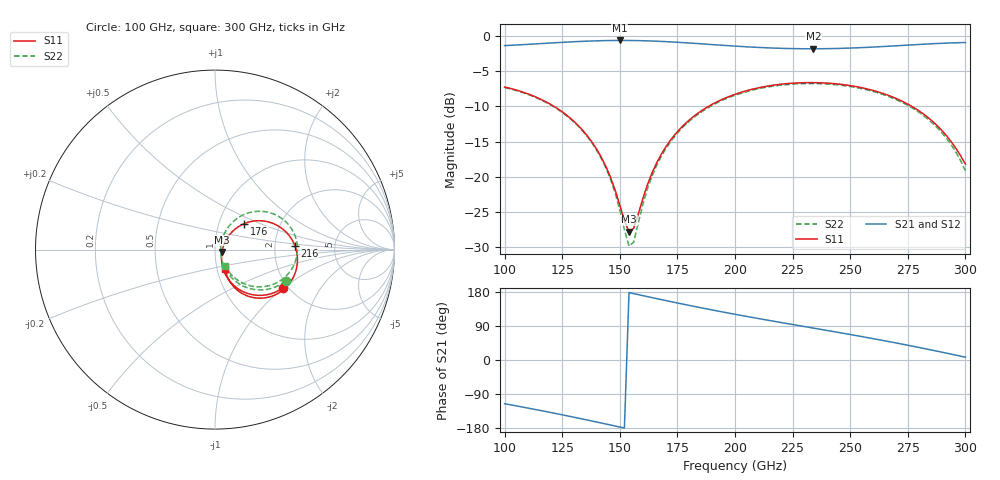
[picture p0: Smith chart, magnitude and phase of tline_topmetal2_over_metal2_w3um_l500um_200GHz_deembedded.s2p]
! Created with skrf 2.0.1 (http://scikit-rf.org).
# GHz S DB R 50.0
!freq dBS11 angS11 dBS21 angS21 dBS12 angS12 dBS22 angS22
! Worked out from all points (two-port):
!   101 points, 100 GHz to 300 GHz, reference 50 ohm
!   highest |S21| = -0.65 dB at 150 GHz (marker M1); lowest = -1.8 dB at 234 GHz (marker M2)
!   |S21| within 3 dB of the highest: start of sweep to end of sweep
!   lowest |S11| = -27.8 dB at 154 GHz (marker M3), VSWR 1.09, Z = 54 - j1.4 ohm
!   |S11| at or under -10 dB: 121.4 GHz to 188.5 GHz (67.05 GHz wide, 43.3 % of centre); 276.7 GHz to end of sweep
!   |S22| runs from -29.8 to -6.8 dB; largest |S21 - S12| = 1.5e-13
!   S11 on the Smith chart (normalised r, x): 100 GHz: 1.87, -0.99; 176 GHz: 1.32, +0.40; 216 GHz: 2.60, +0.15; 300 GHz: 1.09, -0.24
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100  -7.26 -29.7  -1.38 -115.5  -1.38 -115.5  -7.33 -23.9
120  -9.72 -50.3  -1.02 -138.5  -1.02 -138.5  -9.80 -43.8
134  -13.43 -63.4  -0.78 -156.0  -0.78 -156.0  -13.53 -57.0
140  -16.09 -67.0  -0.71 -163.7  -0.71 -163.7  -16.22 -61.1
144  -18.54 -67.1  -0.68 -169.0  -0.68 -169.0  -18.75 -61.9
148  -21.89 -62.0  -0.66 -174.3  -0.66 -174.3  -22.30 -58.4
150  -24.00 -54.9  -0.65 -176.9  -0.65 -176.9  -24.68 -52.4
154  -27.77 -18.4  -0.66 177.8  -0.66 177.8  -29.81 -12.8
156  -27.29 8.1  -0.67 175.2  -0.67 175.2  -29.25 21.3
162  -21.11 42.4  -0.71 167.2  -0.71 167.2  -21.66 57.5
168  -16.79 46.0  -0.79 159.4  -0.79 159.4  -17.07 59.7
176  -13.23 41.6  -0.93 149.2  -0.93 149.2  -13.42 54.7
186  -10.50 32.6  -1.15 136.9  -1.15 136.9  -10.65 45.5
200  -8.29 18.7  -1.45 120.7  -1.45 120.7  -8.42 31.9
216  -7.03 2.9  -1.72 103.2  -1.72 103.2  -7.16 16.4
234  -6.63 -14.4  -1.83 84.2  -1.83 84.2  -6.76 -0.5
252  -7.16 -31.6  -1.71 65.1  -1.71 65.1  -7.30 -17.6
268  -8.61 -46.9  -1.45 47.2  -1.45 47.2  -8.77 -33.3
278  -10.25 -56.0  -1.26 35.3  -1.26 35.3  -10.43 -43.2
288  -12.81 -63.4  -1.08 22.9  -1.08 22.9  -13.09 -52.5
294  -15.07 -65.5  -1.00 15.3  -1.00 15.3  -15.52 -56.9
300  -18.18 -62.6  -0.95 7.4  -0.95 7.4  -19.12 -58.2
